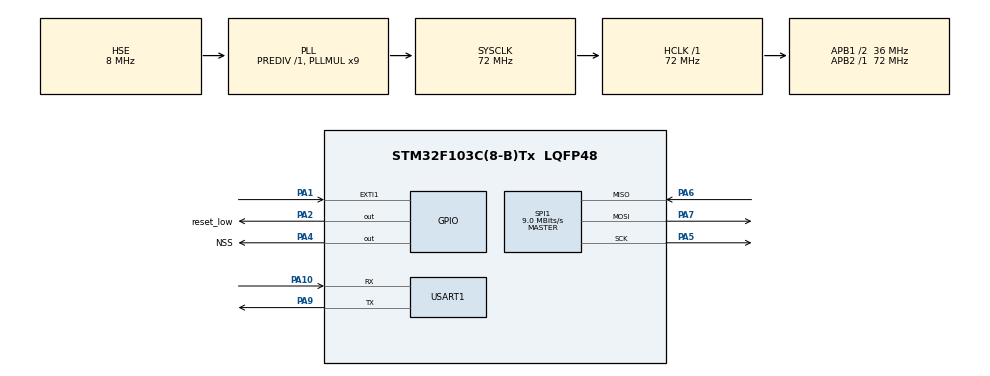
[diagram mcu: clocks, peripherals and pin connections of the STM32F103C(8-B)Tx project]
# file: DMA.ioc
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Dma.MEMTOMEM.0.Direction=DMA_MEMORY_TO_MEMORY
Dma.MEMTOMEM.0.Instance=DMA1_Channel1
Dma.MEMTOMEM.0.MemDataAlignment=DMA_MDATAALIGN_BYTE
Dma.MEMTOMEM.0.MemInc=DMA_MINC_ENABLE
Dma.MEMTOMEM.0.Mode=DMA_NORMAL
Dma.MEMTOMEM.0.PeriphDataAlignment=DMA_PDATAALIGN_BYTE
Dma.MEMTOMEM.0.PeriphInc=DMA_PINC_ENABLE
Dma.MEMTOMEM.0.Priority=DMA_PRIORITY_LOW
Dma.Request0=MEMTOMEM
Mcu.Family=STM32F1
Mcu.Name=STM32F103C(8-B)Tx
Mcu.Package=LQFP48
NVIC.EXTI1_IRQn=true\:0\:0\:false\:false\:true\:true\:true\:true
NVIC.PriorityGroup=NVIC_PRIORITYGROUP_2
NVIC.SPI1_IRQn=true\:2\:0\:true\:false\:true\:true\:true\:true
NVIC.USART1_IRQn=true\:3\:3\:true\:false\:true\:true\:true\:true
PA1.GPIO_ModeDefaultEXTI=GPIO_MODE_IT_FALLING
PA1.GPIO_PuPd=GPIO_PULLDOWN
PA1.Signal=GPXTI1
PA10.Mode=Asynchronous
PA10.Signal=USART1_RX
PA13.Mode=Serial_Wire
PA13.Signal=SYS_JTMS-SWDIO
PA14.Mode=Serial_Wire
PA14.Signal=SYS_JTCK-SWCLK
PA2.GPIO_Label=reset_low
PA2.PinState=GPIO_PIN_SET
PA2.Signal=GPIO_Output
PA4.GPIO_Label=NSS
PA4.PinState=GPIO_PIN_SET
PA4.Signal=GPIO_Output
PA5.Mode=Full_Duplex_Master
PA5.Signal=SPI1_SCK
PA6.Mode=Full_Duplex_Master
PA6.Signal=SPI1_MISO
PA7.Mode=Full_Duplex_Master
PA7.Signal=SPI1_MOSI
PA9.Mode=Asynchronous
PA9.Signal=USART1_TX
PD0-OSC_IN.Mode=HSE-External-Oscillator
PD0-OSC_IN.Signal=RCC_OSC_IN
PD1-OSC_OUT.Mode=HSE-External-Oscillator
PD1-OSC_OUT.Signal=RCC_OSC_OUT
ProjectManager.HeapSize=0x200
ProjectManager.StackSize=0x400
ProjectManager.TargetToolchain=MDK-ARM V5
RCC.AHBFreq_Value=72000000
RCC.APB1CLKDivider=RCC_HCLK_DIV2
RCC.APB1Freq_Value=36000000
RCC.APB1TimFreq_Value=72000000
RCC.APB2Freq_Value=72000000
RCC.APB2TimFreq_Value=72000000
RCC.HCLKFreq_Value=72000000
RCC.PLLMUL=RCC_PLL_MUL9
RCC.PLLSourceVirtual=RCC_PLLSOURCE_HSE
RCC.SYSCLKFreq_VALUE=72000000
RCC.SYSCLKSource=RCC_SYSCLKSOURCE_PLLCLK
RCC.USBFreq_Value=72000000
SPI1.BaudRatePrescaler=SPI_BAUDRATEPRESCALER_8
SPI1.CalculateBaudRate=9.0 MBits/s
SPI1.DataSize=SPI_DATASIZE_8BIT
SPI1.Direction=SPI_DIRECTION_2LINES
SPI1.Mode=SPI_MODE_MASTER
SPI1.VirtualType=VM_MASTER
TIM4.Prescaler=71
USART1.VirtualMode=VM_ASYNC
VP_TIM4_VS_ClockSourceINT.Mode=Internal
board=custom

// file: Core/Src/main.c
/* USER CODE BEGIN Header */
/**
  ******************************************************************************
  * @file           : main.c
  * @brief          : Main program body
  ******************************************************************************
  * @attention
  *
  * Copyright (c) 2024 STMicroelectronics.
  * All rights reserved.
  *
  * This software is licensed under terms that can be found in the LICENSE file
  * in the root directory of this software component.
  * If no LICENSE file comes with this software, it is provided AS-IS.
  *
  ******************************************************************************
  */
/* USER CODE END Header */
#include "main.h"
#include "dma.h"
#include "spi.h"
#include "tim.h"
#include "usart.h"
#include "gpio.h"

/* USER CODE BEGIN Includes */
#include "PortF103Cn0510.h"
#include <stdlib.h>
#include "ad5940.h"
#include "AD5940Function.h"
/* USER CODE END Includes */

/* USER CODE BEGIN PTD */
uint8_t aRxBuffer[RXBUFFERSIZE];//HAL库使用的串口接收缓冲

extern volatile uint8_t ucInterrupted;
void AD5940_messege(void);
void AD5940_ADC(void);
/* USER CODE END PTD */

void SystemClock_Config(void);

/* USER CODE BEGIN 0 */

//char Sendbuff[] = "Hello Windows!\r\n";
//int flag = 1;
char receive[10]={1,2};
//char r1[] = "start";
//char r2[] = "stop";
//char start[] ="start......\r\n";
//char stop[] ="stop!\r\n";
//char Error[] = "Input Error,Please input again.\r\n";

/* USER CODE END 0 */

int main(void)
{

  /* MCU Configuration--------------------------------------------------------*/

  /* Reset of all peripherals, Initializes the Flash interface and the Systick. */
  HAL_Init();

  /* Configure the system clock */
  SystemClock_Config();

  /* Initialize all configured peripherals */
  MX_GPIO_Init();
  MX_DMA_Init();
  MX_USART1_UART_Init();
  MX_SPI1_Init();
  MX_TIM4_Init();
  /* USER CODE BEGIN 2 */
  AD5940_CsSet();
  AD5940_RstSet();
HAL_Delay(1);
  AD5940_messege();
  /* USER CODE END 2 */

  /* Infinite loop */
  /* USER CODE BEGIN WHILE */
AD5940_impedance_init();
   AD5940_impedance();
long long t=0;
  while (1)
  {

   AD5940_ADC();
   printf("RUN WHILE!! %lld\r\n",t++);
    HAL_Delay(100);
    /* USER CODE END WHILE */

  }
}

void SystemClock_Config(void)
{
  RCC_OscInitTypeDef RCC_OscInitStruct = {0};
  RCC_ClkInitTypeDef RCC_ClkInitStruct = {0};

  /** Initializes the RCC Oscillators according to the specified parameters
  * in the RCC_OscInitTypeDef structure.
  */
  RCC_OscInitStruct.OscillatorType = RCC_OSCILLATORTYPE_HSE;
  RCC_OscInitStruct.HSEState = RCC_HSE_ON;
  RCC_OscInitStruct.HSEPredivValue = RCC_HSE_PREDIV_DIV1;
  RCC_OscInitStruct.HSIState = RCC_HSI_ON;
  RCC_OscInitStruct.PLL.PLLState = RCC_PLL_ON;
  RCC_OscInitStruct.PLL.PLLSource = RCC_PLLSOURCE_HSE;
  RCC_OscInitStruct.PLL.PLLMUL = RCC_PLL_MUL9;
  if (HAL_RCC_OscConfig(&RCC_OscInitStruct) != HAL_OK)
  {
    Error_Handler();
  }

  /** Initializes the CPU, AHB and APB buses clocks
  */
  RCC_ClkInitStruct.ClockType = RCC_CLOCKTYPE_HCLK|RCC_CLOCKTYPE_SYSCLK
                              |RCC_CLOCKTYPE_PCLK1|RCC_CLOCKTYPE_PCLK2;
  RCC_ClkInitStruct.SYSCLKSource = RCC_SYSCLKSOURCE_PLLCLK;
  RCC_ClkInitStruct.AHBCLKDivider = RCC_SYSCLK_DIV1;
  RCC_ClkInitStruct.APB1CLKDivider = RCC_HCLK_DIV2;
  RCC_ClkInitStruct.APB2CLKDivider = RCC_HCLK_DIV1;

  if (HAL_RCC_ClockConfig(&RCC_ClkInitStruct, FLASH_LATENCY_2) != HAL_OK)
  {
    Error_Handler();
  }
}

/* USER CODE BEGIN 4 */

void HAL_GPIO_EXTI_Callback(uint16_t GPIO_Pin)
{
    if(GPIO_Pin == GPIO_PIN_1)
    {
//    Handle GPIO0 interrupt
     //  printf("Callback PIN_1 \r\n");

      __HAL_GPIO_EXTI_CLEAR_IT(GPIO_PIN_1);

    }
}

/* USER CODE END 4 */

void Error_Handler(void)
{
  /* USER CODE BEGIN Error_Handler_Debug */
  /* User can add his own implementation to report the HAL error return state */
  __disable_irq();
  while (1)
  {

    printf("error!!!\r\n");
  }
  /* USER CODE END Error_Handler_Debug */
}
